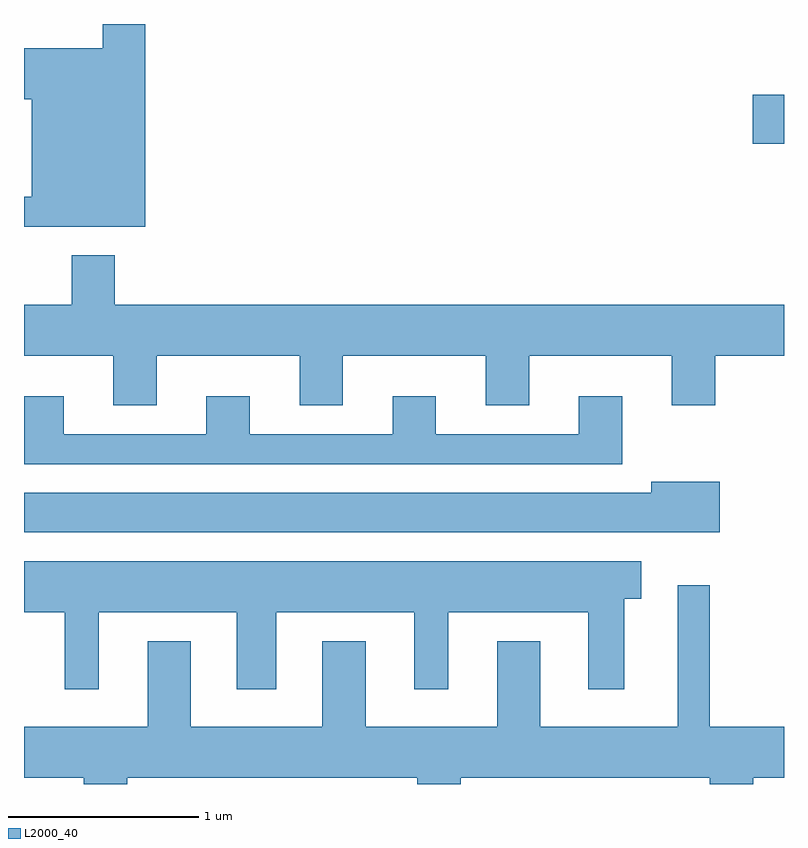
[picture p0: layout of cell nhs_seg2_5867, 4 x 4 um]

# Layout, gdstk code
import gdstk
lib = gdstk.Library(unit=1e-6, precision=1e-09)
def R(c, l, rs):  # rectangles x0, y0, x1, y1
    for r in rs: c.add(gdstk.rectangle(r[:2], r[2:], *l))
def P(c, l, *ps):  # polygons
    for p in ps: c.add(gdstk.Polygon(p, *l))
L2000_40 = (2000, 40)

nhs_seg2_5867 = lib.new_cell('nhs_seg2_5867')
R(nhs_seg2_5867, L2000_40, [(361.446,1087.171,361.611,1087.429)])
P(nhs_seg2_5867, L2000_40, [(358.249,1087.802),(358.026,1087.802),(358.026,1087.674),(357.611,1087.674),(357.611,1087.406),(357.651,1087.406),(357.651,1086.894),(357.611,1086.894),(357.611,1086.736),(358.249,1086.736)],
  [(358.309,1086.056),(359.061,1086.056),(359.061,1085.796),(359.289,1085.796),(359.289,1086.056),(360.041,1086.056),(360.041,1085.796),(360.269,1085.796),(360.269,1086.056),(361.021,1086.056),(361.021,1085.796),(361.249,1085.796),(361.249,1086.056),(361.611,1086.056),(361.611,1086.324),(358.089,1086.324),(358.089,1086.584),(357.861,1086.584),(357.861,1086.324),(357.611,1086.324),(357.611,1086.056),(358.081,1086.056),(358.081,1085.796),(358.309,1085.796)],
  [(360.759,1085.844),(360.531,1085.844),(360.531,1085.644),(359.779,1085.644),(359.779,1085.844),(359.551,1085.844),(359.551,1085.644),(358.799,1085.644),(358.799,1085.844),(358.571,1085.844),(358.571,1085.644),(357.819,1085.644),(357.819,1085.844),(357.611,1085.844),(357.611,1085.486),(360.759,1085.486)],
  [(361.274,1085.394),(360.911,1085.394),(360.911,1085.334),(357.611,1085.334),(357.611,1085.126),(361.274,1085.126)],
  [(358.004,1084.706),(358.731,1084.706),(358.731,1084.301),(358.939,1084.301),(358.939,1084.706),(359.666,1084.706),(359.666,1084.301),(359.844,1084.301),(359.844,1084.706),(360.581,1084.706),(360.581,1084.301),(360.769,1084.301),(360.769,1084.776),(360.859,1084.776),(360.859,1084.974),(357.611,1084.974),(357.611,1084.706),(357.826,1084.706),(357.826,1084.301),(358.004,1084.301)],
  [(358.154,1083.836),(359.681,1083.836),(359.681,1083.802),(359.909,1083.802),(359.909,1083.836),(361.221,1083.836),(361.221,1083.802),(361.449,1083.802),(361.449,1083.836),(361.611,1083.836),(361.611,1084.104),(361.219,1084.104),(361.219,1084.848),(361.051,1084.848),(361.051,1084.104),(360.329,1084.104),(360.329,1084.554),(360.101,1084.554),(360.101,1084.104),(359.409,1084.104),(359.409,1084.554),(359.181,1084.554),(359.181,1084.104),(358.489,1084.104),(358.489,1084.554),(358.261,1084.554),(358.261,1084.104),(357.611,1084.104),(357.611,1083.836),(357.926,1083.836),(357.926,1083.802),(358.154,1083.802)])

lib.write_gds('nhs_seg2_5867.gds')
